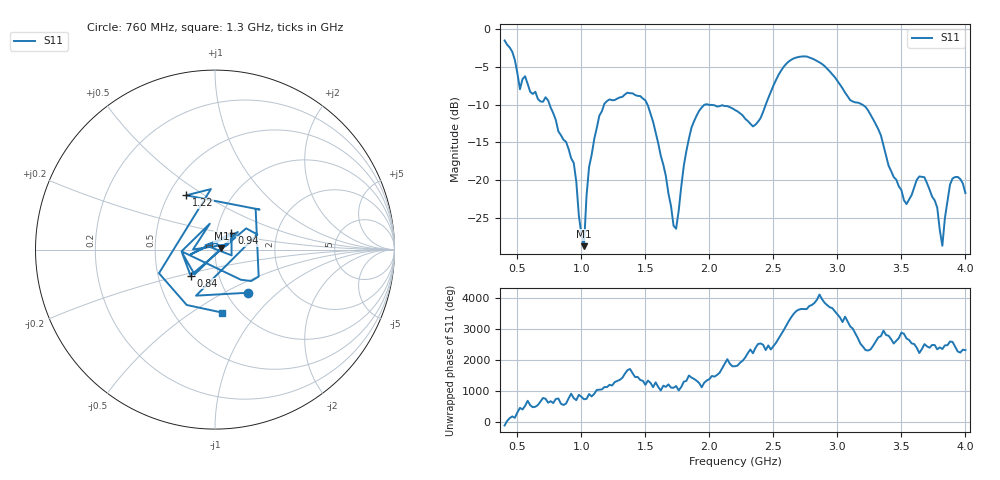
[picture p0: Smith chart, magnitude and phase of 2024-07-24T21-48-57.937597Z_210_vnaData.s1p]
!Created with skrf (http://scikit-rf.org).
# Hz S RI R 50.0
!freq ReS11 ImS11
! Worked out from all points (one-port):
!   181 points, 400 MHz to 4 GHz, reference 50 ohm
!   lowest |S11| = -28.7 dB at 1.02 GHz (marker M1), VSWR 1.08, Z = 53.7 + j0.67 ohm
!   |S11| at or under -10 dB: 1.516 GHz to 1.966 GHz (450.2 MHz wide, 25.9 % of centre); 1.99 GHz to 2.44 GHz (449.9 MHz wide, 20.3 % of centre); 3.194 GHz to end of sweep (the widest 3 of 4)
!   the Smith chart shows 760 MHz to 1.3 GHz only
!   S11 on the Smith chart (normalised r, x): 760 MHz: 1.25, -0.66; 840 MHz: 0.73, -0.22; 940 MHz: 1.18, +0.22; 1.22 GHz: 0.61, +0.42; 1.3 GHz: 0.84, -0.67
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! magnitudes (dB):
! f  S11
! 400 MHz  -1.5
! 520 MHz  -8.0
! 560 MHz  -6.2
! 760 MHz  -10.4
! 840 MHz  -14.0
! 860 MHz  -14.7
! 940 MHz  -17.7
! 1.02 GHz  -28.7
! 1.06 GHz  -18.2
! 1.14 GHz  -11.5
! 1.22 GHz  -9.3
! 1.3 GHz  -9.0
! 1.5 GHz  -9.4
! 1.72 GHz  -26.0
! 1.76 GHz  -24.0
! 1.82 GHz  -16.1
! 1.92 GHz  -10.8
! 2.2 GHz  -10.7
! 2.36 GHz  -12.7
! 2.66 GHz  -3.9
! 3.1 GHz  -9.4
! 3.24 GHz  -10.8
! 3.56 GHz  -22.6
! 3.68 GHz  -19.6
! 3.78 GHz  -23.6
! 3.82 GHz  -28.7
! 3.9 GHz  -19.8
! 4 GHz  -21.7
